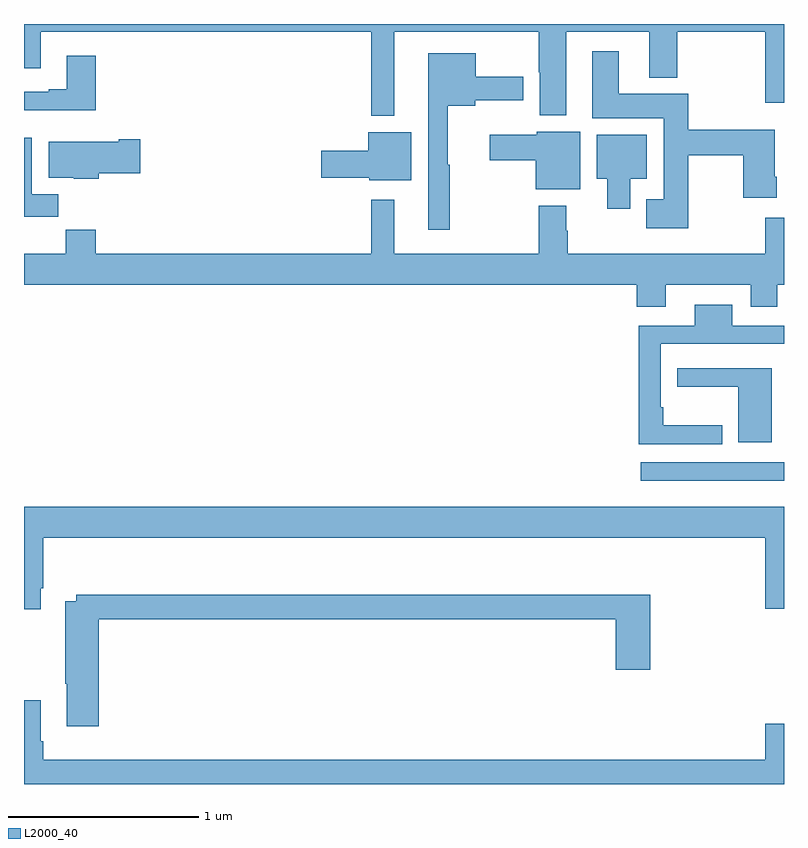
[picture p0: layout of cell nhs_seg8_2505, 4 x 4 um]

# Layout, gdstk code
import gdstk
lib = gdstk.Library(unit=1e-6, precision=1e-09)
def R(c, l, rs):  # rectangles x0, y0, x1, y1
    for r in rs: c.add(gdstk.rectangle(r[:2], r[2:], *l))
def P(c, l, *ps):  # polygons
    for p in ps: c.add(gdstk.Polygon(p, *l))
L2000_40 = (2000, 40)

nhs_seg8_2505 = lib.new_cell('nhs_seg8_2505')
R(nhs_seg8_2505, L2000_40, [(272.247,1087.496,273,1087.593)])
P(nhs_seg8_2505, L2000_40, [(270.949,1089.86),(271.708,1089.86),(271.708,1089.645),(271.715,1089.645),(271.715,1089.419),(271.855,1089.419),(271.855,1089.86),(272.291,1089.86),(272.291,1089.617),(272.439,1089.617),(272.439,1089.86),(272.9,1089.86),(272.9,1089.486),(273,1089.486),(273,1089.9),(269,1089.9),(269,1089.666),(269.089,1089.666),(269.089,1089.86),(270.828,1089.86),(270.828,1089.416),(270.949,1089.416)],
  [(272.496,1089.208),(272.785,1089.208),(272.785,1088.985),(272.963,1088.985),(272.963,1089.097),(272.95,1089.097),(272.95,1089.344),(272.496,1089.344),(272.496,1089.532),(272.131,1089.532),(272.131,1089.757),(271.991,1089.757),(271.991,1089.404),(272.366,1089.404),(272.366,1088.977),(272.276,1088.977),(272.276,1088.825),(272.496,1088.825)],
  [(271.241,1089.158),(271.231,1089.158),(271.231,1089.47),(271.374,1089.47),(271.374,1089.5),(271.627,1089.5),(271.627,1089.622),(271.378,1089.622),(271.378,1089.745),(271.127,1089.745),(271.127,1088.817),(271.241,1088.817)],
  [(269.378,1089.733),(269.225,1089.733),(269.225,1089.556),(269.129,1089.556),(269.129,1089.543),(269,1089.543),(269,1089.446),(269.378,1089.446)],
  [(271.927,1089.334),(271.698,1089.334),(271.698,1089.316),(271.452,1089.316),(271.452,1089.182),(271.694,1089.182),(271.694,1089.029),(271.927,1089.029)],
  [(271.039,1089.331),(270.812,1089.331),(270.812,1089.233),(270.564,1089.233),(270.564,1089.091),(270.816,1089.091),(270.816,1089.077),(271.039,1089.077)],
  [(272.191,1089.086),(272.278,1089.086),(272.278,1089.316),(272.015,1089.316),(272.015,1089.086),(272.069,1089.086),(272.069,1088.928),(272.191,1088.928)],
  [(269.18,1089.004),(269.041,1089.004),(269.041,1089.301),(269,1089.301),(269,1088.886),(269.18,1088.886)],
  [(269.393,1089.115),(269.611,1089.115),(269.611,1089.293),(269.498,1089.293),(269.498,1089.28),(269.129,1089.28),(269.129,1089.092),(269.262,1089.092),(269.262,1089.086),(269.393,1089.086)],
  [(272.377,1088.528),(272.825,1088.528),(272.825,1088.411),(272.965,1088.411),(272.965,1088.528),(273,1088.528),(273,1088.881),(272.9,1088.881),(272.9,1088.692),(271.863,1088.692),(271.863,1088.813),(271.855,1088.813),(271.855,1088.944),(271.708,1088.944),(271.708,1088.692),(270.949,1088.692),(270.949,1088.974),(270.828,1088.974),(270.828,1088.692),(269.378,1088.692),(269.378,1088.816),(269.221,1088.816),(269.221,1088.692),(269,1088.692),(269,1088.528),(272.225,1088.528),(272.225,1088.411),(272.377,1088.411)],
  [(272.674,1087.787),(272.365,1087.787),(272.365,1087.882),(272.352,1087.882),(272.352,1088.217),(273,1088.217),(273,1088.313),(272.728,1088.313),(272.728,1088.422),(272.531,1088.422),(272.531,1088.313),(272.236,1088.313),(272.236,1087.689),(272.674,1087.689)],
  [(272.935,1088.088),(272.545,1088.088),(272.545,1088.087),(272.437,1088.087),(272.437,1087.991),(272.759,1087.991),(272.759,1087.7),(272.935,1087.7)],
  [(269.089,1086.931),(269.102,1086.931),(269.102,1087.196),(272.9,1087.196),(272.9,1086.822),(273,1086.822),(273,1087.36),(269,1087.36),(269,1086.819),(269.089,1086.819)],
  [(269.393,1086.766),(272.114,1086.766),(272.114,1086.501),(272.297,1086.501),(272.297,1086.895),(269.274,1086.895),(269.274,1086.862),(269.218,1086.862),(269.218,1086.427),(269.225,1086.427),(269.225,1086.204),(269.393,1086.204)],
  [(269,1086.34),(269,1085.9),(273,1085.9),(273,1086.217),(272.9,1086.217),(272.9,1086.028),(269.102,1086.028),(269.102,1086.124),(269.089,1086.124),(269.089,1086.34)])

lib.write_gds('nhs_seg8_2505.gds')
